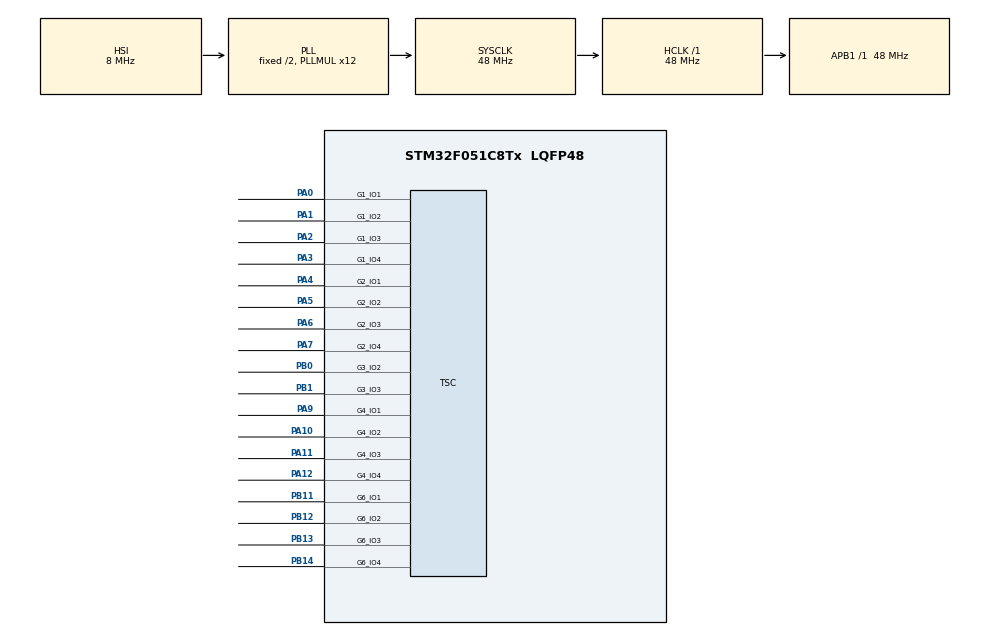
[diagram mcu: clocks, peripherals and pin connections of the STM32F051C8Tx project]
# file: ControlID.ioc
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Mcu.Family=STM32F0
Mcu.Name=STM32F051C8Tx
Mcu.Package=LQFP48
PA0.Mode=G1_IO1-Channel
PA0.Signal=TSC_G1_IO1
PA1.Mode=G1_IO2-Channel
PA1.Signal=TSC_G1_IO2
PA10.Mode=G4_IO2-Channel
PA10.Signal=TSC_G4_IO2
PA11.Mode=G4_IO3-Channel
PA11.Signal=TSC_G4_IO3
PA12.Mode=G4_IO4-Channel
PA12.Signal=TSC_G4_IO4
PA2.Mode=G1_IO3-Channel
PA2.Signal=TSC_G1_IO3
PA3.Mode=G1_IO4-Sampling
PA3.Signal=TSC_G1_IO4
PA4.Mode=G2_IO1-Channel
PA4.Signal=TSC_G2_IO1
PA5.Mode=G2_IO2-Channel
PA5.Signal=TSC_G2_IO2
PA6.Mode=G2_IO3-Channel
PA6.Signal=TSC_G2_IO3
PA7.Mode=G2_IO4-Sampling
PA7.Signal=TSC_G2_IO4
PA9.Mode=G4_IO1-Sampling
PA9.Signal=TSC_G4_IO1
PB0.Mode=G3_IO2-Channel
PB0.Signal=TSC_G3_IO2
PB1.Mode=G3_IO3-Sampling
PB1.Signal=TSC_G3_IO3
PB11.Mode=G6_IO1-Sampling
PB11.Signal=TSC_G6_IO1
PB12.Mode=G6_IO2-Channel
PB12.Signal=TSC_G6_IO2
PB13.Mode=G6_IO3-Channel
PB13.Signal=TSC_G6_IO3
PB14.Mode=G6_IO4-Channel
PB14.Signal=TSC_G6_IO4
ProjectManager.HeapSize=0x200
ProjectManager.StackSize=0x400
ProjectManager.TargetToolchain=MDK-ARM V5
RCC.AHBFreq_Value=48000000
RCC.APB1Freq_Value=48000000
RCC.APB1TimFreq_Value=48000000
RCC.HCLKFreq_Value=48000000
RCC.PLLMUL=RCC_PLL_MUL12
RCC.SYSCLKFreq_VALUE=48000000
RCC.SYSCLKSource=RCC_SYSCLKSOURCE_PLLCLK
TSC.ChannelIOs-G1_IO1=TSC_GROUP1_IO1
TSC.ChannelIOs-G1_IO2=TSC_GROUP1_IO2
TSC.ChannelIOs-G1_IO3=TSC_GROUP1_IO3
TSC.ChannelIOs-G2_IO1=TSC_GROUP2_IO1
TSC.ChannelIOs-G2_IO2=TSC_GROUP2_IO2
TSC.ChannelIOs-G2_IO3=TSC_GROUP2_IO3
TSC.ChannelIOs-G3_IO2=TSC_GROUP3_IO2
TSC.ChannelIOs-G4_IO2=TSC_GROUP4_IO2
TSC.ChannelIOs-G4_IO3=TSC_GROUP4_IO3
TSC.ChannelIOs-G4_IO4=TSC_GROUP4_IO4
TSC.ChannelIOs-G6_IO2=TSC_GROUP6_IO2
TSC.ChannelIOs-G6_IO3=TSC_GROUP6_IO3
TSC.ChannelIOs-G6_IO4=TSC_GROUP6_IO4
TSC.SamplingIOs-G1_IO4=TSC_GROUP1_IO4
TSC.SamplingIOs-G2_IO4=TSC_GROUP2_IO4
TSC.SamplingIOs-G3_IO3=TSC_GROUP3_IO3
TSC.SamplingIOs-G4_IO1=TSC_GROUP4_IO1
TSC.SamplingIOs-G6_IO1=TSC_GROUP6_IO1
board=ControlID

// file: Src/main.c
/**
  ******************************************************************************
  * File Name          : main.c
  * Description        : Main program body
  ******************************************************************************
  *
  * COPYRIGHT(c) 2016 STMicroelectronics
  *
  * Redistribution and use in source and binary forms, with or without modification,
  * are permitted provided that the following conditions are met:
  *   1. Redistributions of source code must retain the above copyright notice,
  *      this list of conditions and the following disclaimer.
  *   2. Redistributions in binary form must reproduce the above copyright notice,
  *      this list of conditions and the following disclaimer in the documentation
  *      and/or other materials provided with the distribution.
  *   3. Neither the name of STMicroelectronics nor the names of its contributors
  *      may be used to endorse or promote products derived from this software
  *      without specific prior written permission.
  *
  * THIS SOFTWARE IS PROVIDED BY THE COPYRIGHT HOLDERS AND CONTRIBUTORS "AS IS"
  * AND ANY EXPRESS OR IMPLIED WARRANTIES, INCLUDING, BUT NOT LIMITED TO, THE
  * IMPLIED WARRANTIES OF MERCHANTABILITY AND FITNESS FOR A PARTICULAR PURPOSE ARE
  * DISCLAIMED. IN NO EVENT SHALL THE COPYRIGHT HOLDER OR CONTRIBUTORS BE LIABLE
  * FOR ANY DIRECT, INDIRECT, INCIDENTAL, SPECIAL, EXEMPLARY, OR CONSEQUENTIAL
  * DAMAGES (INCLUDING, BUT NOT LIMITED TO, PROCUREMENT OF SUBSTITUTE GOODS OR
  * SERVICES; LOSS OF USE, DATA, OR PROFITS; OR BUSINESS INTERRUPTION) HOWEVER
  * CAUSED AND ON ANY THEORY OF LIABILITY, WHETHER IN CONTRACT, STRICT LIABILITY,
  * OR TORT (INCLUDING NEGLIGENCE OR OTHERWISE) ARISING IN ANY WAY OUT OF THE USE
  * OF THIS SOFTWARE, EVEN IF ADVISED OF THE POSSIBILITY OF SUCH DAMAGE.
  *
  ******************************************************************************
  */
#include "main.h"
#include "stm32f0xx_hal.h"
#include "tsc.h"
#include "gpio.h"

/* USER CODE BEGIN Includes */
#include "tsl_user.h"
/* USER CODE END Includes */

/* USER CODE BEGIN PV */
/* Private variables ---------------------------------------------------------*/
unsigned char BYPASS_DTO;

// For debug purpose with STMStudio
uint8_t DS[TSLPRM_TOTAL_TKEYS + TSLPRM_TOTAL_LNRTS]; // To store the States (one per object)
int16_t DD[TSLPRM_TOTAL_TKEYS + (TSLPRM_TOTAL_LNRTS * 3)]; // To store the Deltas (one per channel)
uint32_t TouchRefSum[13];
uint16_t TouchRef[13];
unsigned int  KeyRead;
/* USER CODE END PV */

void SystemClock_Config(void);
void Error_Handler(void);

/* USER CODE BEGIN PFP */
/* Private function prototypes -----------------------------------------------*/
void ProcessSensors(void);
/* USER CODE END PFP */

/* USER CODE BEGIN 0 */
#define DETECT_TKEY(NB)   (MyTKeys[(NB)].p_Data->StateId == TSL_STATEID_DETECT)
#define TOUCH_TKEY(NB)   (MyTKeys[(NB)].p_Data->StateId == TSL_STATEID_TOUCH)
/* USER CODE END 0 */

int main(void)
{

  /* MCU Configuration----------------------------------------------------------*/

  /* Reset of all peripherals, Initializes the Flash interface and the Systick. */
  HAL_Init();

  /* Configure the system clock */
  SystemClock_Config();

  /* Initialize all configured peripherals */
  MX_GPIO_Init();
  MX_TSC_Init();

  /* USER CODE BEGIN 2 */
  TSL_user_Init();
  /* USER CODE END 2 */

  /* Infinite loop */
  while (1)
  {

  /* USER CODE BEGIN 3 */
    if( TSL_user_Action() == TSL_STATUS_OK ){
      ProcessSensors(); // Execute sensors related tasks
    }
  }
  /* USER CODE END 3 */

}

/** System Clock Configuration
*/
void SystemClock_Config(void)
{

  RCC_OscInitTypeDef RCC_OscInitStruct;
  RCC_ClkInitTypeDef RCC_ClkInitStruct;

    /**Initializes the CPU, AHB and APB busses clocks
    */
  RCC_OscInitStruct.OscillatorType = RCC_OSCILLATORTYPE_HSI;
  RCC_OscInitStruct.HSIState = RCC_HSI_ON;
  RCC_OscInitStruct.HSICalibrationValue = 16;
  RCC_OscInitStruct.PLL.PLLState = RCC_PLL_ON;
  RCC_OscInitStruct.PLL.PLLSource = RCC_PLLSOURCE_HSI;
  RCC_OscInitStruct.PLL.PLLMUL = RCC_PLL_MUL12;
  RCC_OscInitStruct.PLL.PREDIV = RCC_PREDIV_DIV1;
  if (HAL_RCC_OscConfig(&RCC_OscInitStruct) != HAL_OK)
  {
    Error_Handler();
  }

    /**Initializes the CPU, AHB and APB busses clocks
    */
  RCC_ClkInitStruct.ClockType = RCC_CLOCKTYPE_HCLK|RCC_CLOCKTYPE_SYSCLK
                              |RCC_CLOCKTYPE_PCLK1;
  RCC_ClkInitStruct.SYSCLKSource = RCC_SYSCLKSOURCE_PLLCLK;
  RCC_ClkInitStruct.AHBCLKDivider = RCC_SYSCLK_DIV1;
  RCC_ClkInitStruct.APB1CLKDivider = RCC_HCLK_DIV1;

  if (HAL_RCC_ClockConfig(&RCC_ClkInitStruct, FLASH_LATENCY_1) != HAL_OK)
  {
    Error_Handler();
  }

    /**Configure the Systick interrupt time
    */
  HAL_SYSTICK_Config(HAL_RCC_GetHCLKFreq()/1000);

    /**Configure the Systick
    */
  HAL_SYSTICK_CLKSourceConfig(SYSTICK_CLKSOURCE_HCLK);

  /* SysTick_IRQn interrupt configuration */
  HAL_NVIC_SetPriority(SysTick_IRQn, 0, 0);
}

/* USER CODE BEGIN 4 */
//==============================================================================
// TSL_routines
//==============================================================================
//==============================================================================

// -----------------------------------------------------------------------------
// -----------------------------------------------------------------------------
/**
* @brief  Manage the activity on sensors when touched/released (example)
* @param  None
* @retval None
*/
void ProcessSensors(void)
{
  uint32_t idx;
  //uint32_t idxch;
  uint32_t idx_ds = 0;
  uint32_t idx_dd = 0;

#if TSLPRM_TOTAL_TKEYS > 0
  // Read all TKeys
  for (idx = 0; idx < TSLPRM_TOTAL_TKEYS; idx++)
  {
    // STMStudio debug
    DS[idx_ds++] = MyTKeys[idx].p_Data->StateId;
    DD[idx_dd++] = MyTKeys[idx].p_ChD->Delta;
    if (DETECT_TKEY(idx) || TOUCH_TKEY(idx))
      //    if (TEST_TKEY(idx))
    {
            KeyRead |= (1<<idx);
    }
    else
    {
      KeyRead &= ~(1<<idx);

      // tavares
      if(MyTKeys[idx].p_Data->StateId == TSL_STATEID_RELEASE)
      {
         if(MyTKeys[idx].p_ChD->Ref < (TouchRef[idx] - TSLPRM_TKEY_DETECT_IN_TH))
         {
            MyTKeys[idx].p_ChD->Ref = TouchRef[idx];
         }
      }
    }
  }
#endif
}

/**
* @brief  Executed when a sensor is in Error state
* @param  None
* @retval None
*/
void MyTKeys_ErrorStateProcess(void)
{
  // Add here your own processing when a sensor is in Error state
  TSL_tkey_SetStateOff();
}

/**
* @brief  Executed when a sensor is in Off state
* @param  None
* @retval None
*/
void MyTKeys_OffStateProcess(void)
{
  // Add here your own processing when a sensor is in Off state
}
/* USER CODE END 4 */

void Error_Handler(void)
{
  while(1)
  {
  }
}

/************************ (C) COPYRIGHT STMicroelectronics *****END OF FILE****/
